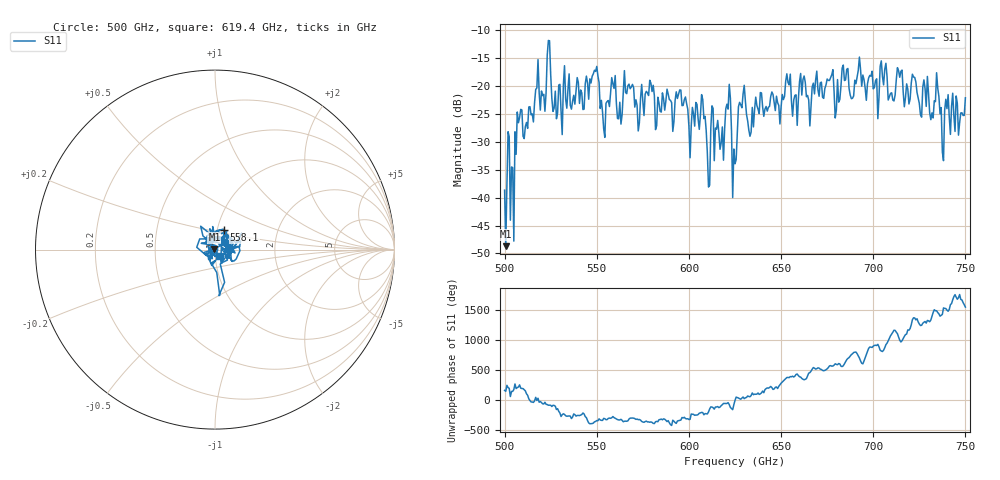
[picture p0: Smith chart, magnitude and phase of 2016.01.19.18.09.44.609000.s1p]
!Created with skrf (http://scikit-rf.org).
# GHz S RI R 50.0
!freq ReS11 ImS11
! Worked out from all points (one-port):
!   401 points, 500 GHz to 750 GHz, reference 50 ohm
!   lowest |S11| = -48.7 dB at 500.6 GHz (marker M1), VSWR 1.01, Z = 49.7 + j0.193 ohm
!   |S11| at or under -10 dB: start of sweep to end of sweep
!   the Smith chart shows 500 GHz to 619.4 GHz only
!   S11 on the Smith chart (normalised r, x): 500 GHz: 0.98, +0.01; 558.1 GHz: 1.08, +0.24; 619.4 GHz: 1.04, -0.07
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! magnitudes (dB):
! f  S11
! 500 GHz  -38.6
! 500.6 GHz  -48.7
! 504.4 GHz  -34.6
! 508.1 GHz  -25.6
! 520.6 GHz  -21.7
! 523.8 GHz  -11.8
! 526.9 GHz  -23.9
! 531.2 GHz  -28.7
! 549.4 GHz  -17.3
! 553.1 GHz  -24.6
! 558.1 GHz  -18.5
! 562.5 GHz  -22.9
! 566.2 GHz  -21.3
! 571.9 GHz  -23.4
! 593.8 GHz  -22.2
! 607.5 GHz  -22.3
! 610.6 GHz  -38.1
! 619.4 GHz  -27.7
! 621.2 GHz  -24.1
! 625 GHz  -33.9
! 628.8 GHz  -23.9
! 632.5 GHz  -27.9
! 656.2 GHz  -25.4
! 687.5 GHz  -21.6
! 718.8 GHz  -20.5
! 734.4 GHz  -17.6
! 737.5 GHz  -31.8
! 750 GHz  -22.1
